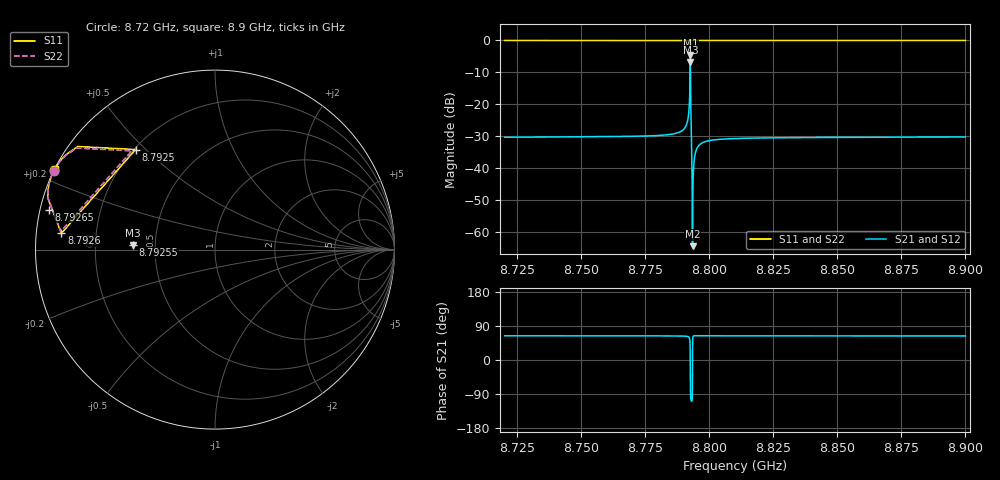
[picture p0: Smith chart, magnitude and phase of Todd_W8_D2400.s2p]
! Sonnet Data File
! From: emgraph Version : 16.52
! From Project: transmon_brgOdd
! Data is De-embedded
! Data File Written: 11/11/2017 22:28:48
!< HDATE 11/11/2017 18:22:48
!< MDATE 11/11/2017 18:22:48
!< PARAMS
!< Lj = 15.24
!< Gap = 6.0
!< Width = 10.0
!< Airgap = 6.0
!< Pwidth = 2000.0
!< Dist = 2400.0
!< END PARAMS
# GHZ S MA R 34.67000
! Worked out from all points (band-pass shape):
!   3601 points, 8.72 GHz to 8.9 GHz, reference 34.67 ohm
!   highest |S21| = -4.65 dB at 8.79255 GHz (marker M1); lowest = -64.5 dB at 8.7934 GHz (marker M2)
!   |S21| within 3 dB of the highest: 8.792485 GHz to 8.792579 GHz (93.58 kHz wide, 0.00106 % of centre)
!   lowest |S11| = -6.8 dB at 8.79255 GHz (marker M3), VSWR 2.68, Z = 12.9 + j0.836 ohm
!   |S11| at or under -10 dB: nowhere
!   |S22| runs from -6.4 to 0.0 dB; largest |S21 - S12| = 0
!   S11 on the Smith chart (normalised r, x): 8.72 GHz: 0.00, +0.23; 8.7925 GHz: 0.21, +0.47; 8.79255 GHz: 0.37, +0.02; 8.7926 GHz: 0.07, +0.05; 8.79265 GHz: 0.03, +0.12; 8.9 GHz: 0.00, +0.24
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8.72  0.9995 153.8  0.03041 63.9  0.03041 63.9  0.9995 154.1
!< P1 F=8.72 Eeff=(5.13609477 -5.6761e-5) Z0=(34.6490765 -9.5162e-5) R=0.0 C=0.0
!< P2 F=8.72 Eeff=(5.13609477 -5.6761e-5) Z0=(34.6490765 -9.5162e-5) R=0.0 C=0.0
8.75  0.9995 153.7  0.03081 63.8  0.03081 63.8  0.9995 153.9
8.78  0.9995 153.5  0.03242 63.6  0.03242 63.6  0.9995 153.8
8.78965  0.9992 153.1  0.03941 63.1  0.03941 63.1  0.9992 153.3
8.7911  0.9986 152.5  0.04849 62.4  0.04849 62.4  0.9986 152.8
8.79195  0.996 151.0  0.0745 60.3  0.0745 60.3  0.996 151.4
8.79225  0.9877 148.4  0.1195 56.2  0.1195 56.2  0.9879 148.8
8.7925  0.7115 128.4  0.4773 16.9  0.4773 16.9  0.7196 130.1
8.79255  0.4564 176.8  0.5855 -40.7  0.5855 -40.7  0.4774 175.0
8.7926  0.8609 174.0  0.3231 -80.7  0.3231 -80.7  0.8648 173.2
8.79265  0.9505 166.4  0.1897 -94.3  0.1897 -94.3  0.9519 166.1
8.7934  0.9994 155.4  0.0005962 -6.8  0.0005962 -6.8  0.9994 155.5
8.79365  0.9996 155.0  0.00698 62.3  0.00698 62.3  0.9996 155.2
8.794  0.9997 154.6  0.01258 63.8  0.01258 63.8  0.9997 154.8
8.7942  0.9997 154.5  0.01473 64.0  0.01473 64.0  0.9997 154.7
8.79455  0.9997 154.3  0.01746 64.1  0.01746 64.1  0.9997 154.6
8.7949  0.9997 154.2  0.01938 64.1  0.01938 64.1  0.9997 154.4
8.7967  0.9997 154.0  0.02416 64.0  0.02416 64.0  0.9997 154.2
8.81  0.9996 153.6  0.029 63.8  0.029 63.8  0.9996 153.9
8.84  0.9995 153.5  0.03009 63.6  0.03009 63.6  0.9995 153.7
8.87  0.9995 153.4  0.03045 63.5  0.03045 63.5  0.9995 153.6
8.9  0.9995 153.3  0.03069 63.4  0.03069 63.4  0.9995 153.5
